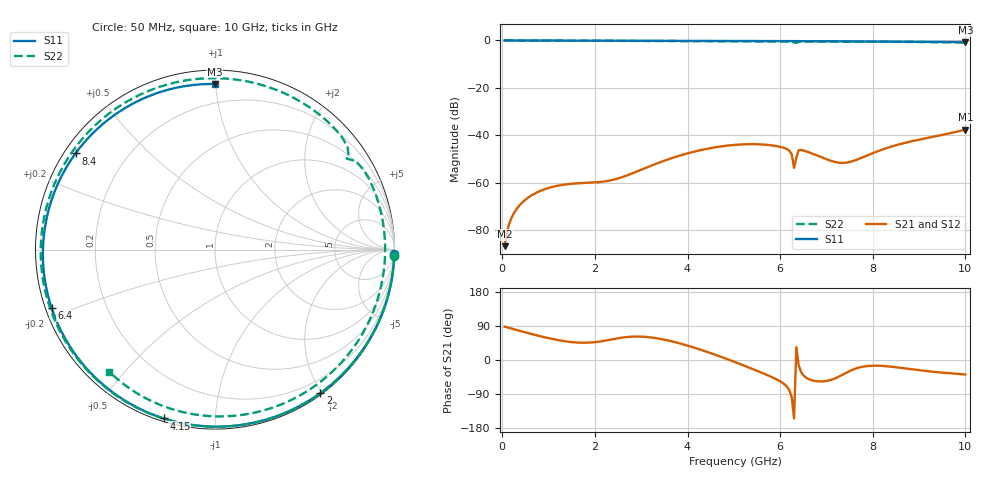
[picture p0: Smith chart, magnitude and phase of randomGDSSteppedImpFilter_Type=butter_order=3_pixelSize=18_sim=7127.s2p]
! freq	dB(S11)	phase(S11)	dB(S12)	phase(S12)
!  dB(S21)	phase(S21)	dB(S22)	phase(S22)
!S-par simulation data
#  GHz  S  DB  R 50
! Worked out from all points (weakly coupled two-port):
!   200 points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, 50 MHz to 10 GHz, reference 50 ohm
!   highest |S21| = -37.63 dB at 10 GHz (marker M1); lowest = -86.8 dB at 50 MHz (marker M2)
!   lowest |S11| = -0.7 dB at 10 GHz (marker M3), VSWR 24.79, Z = 4.02 + j49.8 ohm
!   |S11| at or under -10 dB: nowhere
!   |S22| runs from -1.0 to 0.0 dB; largest |S21 - S12| = 0
!   S11 on the Smith chart (normalised r, x): 50 MHz: 2, -82; 2 GHz: 0.02, -1.97; 4.15 GHz: 0.01, -0.74; 6.4 GHz: 0.02, -0.17; 8.4 GHz: 0.03, +0.31; 10 GHz: 0.08, +1.00
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0.05  -0.00 -1.4  -86.82 88.1  -86.82 88.1  -0.01 -2.2
0.1  -0.01 -2.8  -80.83 86.4  -80.83 86.4  -0.01 -4.4
0.35  -0.01 -9.6  -70.12 77.8  -70.12 77.8  -0.02 -15.2
0.65  -0.02 -17.8  -65.17 67.9  -65.17 67.9  -0.03 -28.1
1.75  -0.06 -47.2  -60.17 45.6  -60.17 45.6  -0.10 -75.4
2  -0.07 -53.7  -59.92 47.1  -59.92 47.1  -0.11 -86.2
2.7  -0.09 -71.6  -56.91 60.7  -56.91 60.7  -0.15 -117.0
3.4  -0.12 -88.9  -51.45 56.0  -51.45 56.0  -0.20 -149.6
4.15  -0.15 -106.9  -46.89 32.4  -46.89 32.4  -0.27 171.8
4.6  -0.17 -117.6  -45.09 13.8  -45.09 13.8  -0.32 146.2
5.05  -0.20 -128.2  -44.03 -6.7  -44.03 -6.7  -0.36 118.5
5.6  -0.23 -141.2  -43.89 -33.5  -43.89 -33.5  -0.40 82.5
6.1  -0.27 -153.1  -45.45 -64.8  -45.45 -64.8  -0.44 48.8
6.25  -0.28 -156.8  -48.06 -98.0  -48.06 -98.0  -0.58 37.9
6.3  -0.29 -158.0  -53.76 -154.4  -53.76 -154.4  -0.87 34.5
6.4  -0.29 -160.4  -46.35 -13.7  -46.35 -13.7  -0.67 32.2
6.7  -0.32 -167.9  -47.80 -54.0  -47.80 -54.0  -0.46 12.4
7.4  -0.39 174.0  -51.63 -35.4  -51.63 -35.4  -0.48 -26.8
8.35  -0.50 146.9  -45.10 -17.1  -45.10 -17.1  -0.56 -70.3
8.4  -0.50 145.4  -44.80 -17.7  -44.80 -17.7  -0.57 -72.3
9.15  -0.59 121.1  -41.27 -29.1  -41.27 -29.1  -0.70 -101.0
10  -0.70 90.1  -37.63 -38.2  -37.63 -38.2  -0.92 -131.0
